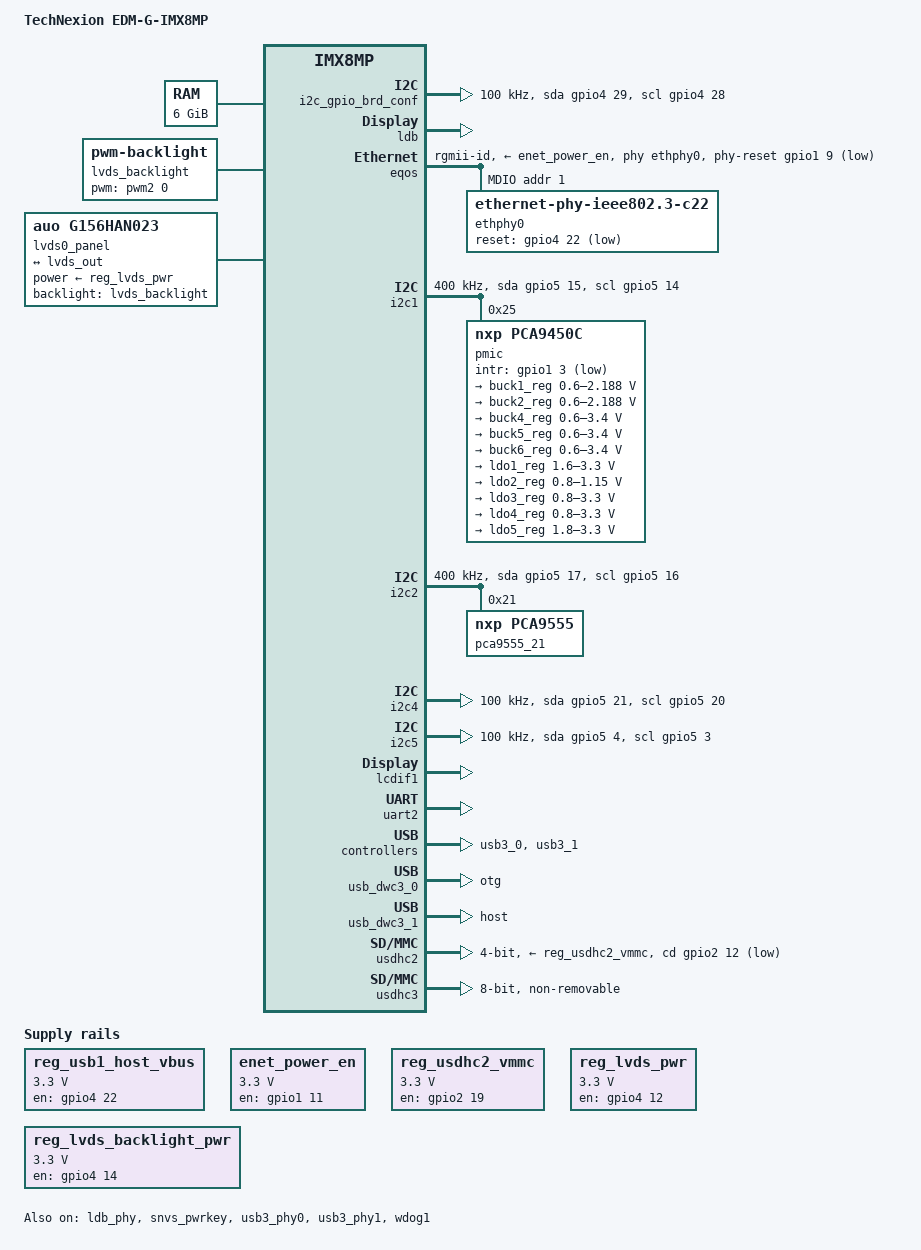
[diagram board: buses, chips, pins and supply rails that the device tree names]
// SPDX-License-Identifier: (GPL-2.0+ OR MIT)
/*
 * Copyright 2017 NXP
 * Copyright 2020 Technexion Ltd, Ray Chang <ray.chang@technexion.com>
 */

/dts-v1/;

#include <dt-bindings/phy/phy-imx8-pcie.h>
#include <dt-bindings/usb/pd.h>
#include "imx8mp.dtsi"

/ {
	model = "TechNexion EDM-G-IMX8MP";
	compatible = "fsl,imx8mp-edm-g", "fsl,imx8mp";

	chosen {
		bootargs = "console=ttymxc1,115200 earlycon=ec_imx6q,0x30890000,115200";
		stdout-path = &uart2;
	};

	memory@40000000 {
		device_type = "memory";
		reg = <0x0 0x40000000 0 0xc0000000>,
		      <0x1 0x00000000 0 0xc0000000>;
	};

	reg_usb1_host_vbus: regulator-usb1-vbus {
		compatible = "regulator-fixed";
		regulator-name = "usb1_host_vbus";
		pinctrl-names = "default";
		pinctrl-0 = <&pinctrl_usb1_vbus>;
		regulator-min-microvolt = <3300000>;
		regulator-max-microvolt = <3300000>;
		gpio = <&gpio4 22 GPIO_ACTIVE_HIGH>;
		enable-active-high;
		regulator-always-on;
	};

	enet_power_en: enet_power_en {
		pinctrl-names = "default";
		pinctrl-0 = <&pinctrl_enet_pwr>;
		compatible = "regulator-fixed";
		regulator-name = "enet_pwr";
		regulator-min-microvolt = <3300000>;
		regulator-max-microvolt = <3300000>;
		gpio = <&gpio1 11 GPIO_ACTIVE_HIGH>;
		enable-active-high;
		regulator-always-on;
	};

	reg_usdhc2_vmmc: regulator-usdhc2 {
		compatible = "regulator-fixed";
		pinctrl-names = "default";
		pinctrl-0 = <&pinctrl_reg_usdhc2_vmmc>;
		regulator-name = "VSD_3V3";
		regulator-min-microvolt = <3300000>;
		regulator-max-microvolt = <3300000>;
		gpio = <&gpio2 19 GPIO_ACTIVE_HIGH>;
		enable-active-high;
	};

	dsi_host: dsi-host {
		compatible = "samsung,sec-mipi-dsi";
		status = "okay";
	};

	i2c_gpio_brd_conf: i2c@0 {
		compatible = "i2c-gpio";
		#address-cells = <1>;
		#size-cells = <0>;
		pinctrl-names = "default";
		pinctrl-0 = <&pinctrl_i2c_brd_conf>;
		gpios = <&gpio4 29 GPIO_ACTIVE_HIGH /* SDA */
			&gpio4 28 GPIO_ACTIVE_HIGH /* SCL */
		>;
		clock-frequency = <100000>;
		status = "okay";
	};


	reg_lvds_pwr: regulator_lvdspwr {
		pinctrl-names = "default";
		pinctrl-0 = <&pinctrl_lvds0_pwr>;
		compatible = "regulator-fixed";
		regulator-name = "lvds0_vdden";
		regulator-min-microvolt = <3300000>;
		regulator-max-microvolt = <3300000>;
		gpio = <&gpio4 12 GPIO_ACTIVE_HIGH>;
		enable-active-high;
		status = "okay";
	};

	reg_lvds_backlight_pwr: regulator_lvdsblpwr {
		pinctrl-names = "default";
		pinctrl-0 = <&pinctrl_lvds0_backlight_pwr>;
		compatible = "regulator-fixed";
		regulator-name = "lvds0_bl_en";
		regulator-min-microvolt = <3300000>;
		regulator-max-microvolt = <3300000>;
		gpio = <&gpio4 14 GPIO_ACTIVE_HIGH>;
		enable-active-high;
		regulator-always-on;
		status = "okay";
	};

	lvds_backlight: lvds_backlight {
		compatible = "pwm-backlight";
		pwms = <&pwm2 0 100000 0>;
        brightness-levels = <0 1 2 3 4 5 6 7 8 9 10 11 12 13 14 15 16 17 18 19 20
                             21 22 23 24 25 26 27 28 29 30 31 32 33 34 35 36 37 38
                             39 40 41 42 43 44 45 46 47 48 49 50 51 52 53 54 55 56
                             57 58 59 60 61 62 63 64 65 66 67 68 69 70 71 72 73 74
                             75 76 77 78 79 80 81 82 83 84 85 86 87 88 89 90 91 92
                             93 94 95 96 97 98 99 100>;
        default-brightness-level = <90>;
		status = "okay";
	};

	lvds0_panel {
		compatible = "auo,g156han023", "panel-lvds";
		backlight = <&lvds_backlight>;
		power-supply = <&reg_lvds_pwr>;
        
        data-mapping = "vesa-24";
        width-mm = <364>;
        height-mm = <216>;

		panel-timing {
			clock-frequency = <70500000>;
			hactive = <1920>;
			vactive = <1080>;
			hback-porch = <52>;
			hfront-porch = <40>;
			vback-porch = <20>;
			vfront-porch = <16>;
			hsync-len = <10>;
			vsync-len = <5>;
		};

		port {
			panel_lvds_in: endpoint {
				remote-endpoint = <&lvds_out>;
			};
		};
	};
};


&ldb {
	status = "okay";
	split-mode;
    dual-channel;

	lvds-channel@0 {
		reg = <0>;
		fsl,data-mapping = "spwg";
		fsl,data-width = <24>;
		status = "okay";
		
		/*
		port@0 {  
            reg = <0>;
            ldb_in: endpoint {  
                remote-endpoint = <&lcdif1_out>;
            };
        };
		*/

		port@1 {
			reg = <1>;

			lvds_out: endpoint {
				remote-endpoint = <&panel_lvds_in>;
			};
		};
	};

    lvds-channel@1 {
        reg = <1>;
        fsl,data-mapping = "spwg";
        fsl,data-width = <24>;
        status = "okay";
    };
};

/*
&lcdif1 {
    status = "okay";
    port@1 {
        reg = <1>;
        lcdif1_out: endpoint {
            remote-endpoint = <&ldb_in>;
        };
    };
};
*/

&ldb_phy {
	status = "okay";
};

&eqos {
	compatible = "fsl,imx-eqos";
	/delete-property/ assigned-clocks;
	/delete-property/ assigned-clock-parents;
	/delete-property/ assigned-clock-rates;

	pinctrl-names = "default";
	pinctrl-0 = <&pinctrl_eqos>;
	phy-mode = "rgmii-id";
	phy-handle = <&ethphy0>;
	phy-supply = <&enet_power_en>;
	phy-reset-gpios = <&gpio1 9 GPIO_ACTIVE_LOW>;
	status = "okay";

	mdio {
		compatible = "snps,dwmac-mdio";
		#address-cells = <1>;
		#size-cells = <0>;

		ethphy0: ethernet-phy@1 {
			compatible = "ethernet-phy-ieee802.3-c22";
			reg = <1>;
			reset-gpios = <&gpio4 22 GPIO_ACTIVE_LOW>;
			reset-assert-us = <10000>;
			reset-deassert-us = <80000>;
			realtek,clkout-disable;
		};
	};

};

&i2c1 {
	clock-frequency = <400000>;
	pinctrl-names = "default", "gpio";
	pinctrl-0 = <&pinctrl_i2c1>;
	pinctrl-1 = <&pinctrl_i2c1_gpio>;
	scl-gpios = <&gpio5 14 GPIO_ACTIVE_HIGH>;
	sda-gpios = <&gpio5 15 GPIO_ACTIVE_HIGH>;
	status = "okay";

	pmic: pca9450@25 {
		reg = <0x25>;
		compatible = "nxp,pca9450c";
		/* PMIC PCA9450 PMIC_nINT GPIO1_IO3 */
		pinctrl-0 = <&pinctrl_pmic>;
		gpio_intr = <&gpio1 3 GPIO_ACTIVE_LOW>;

		regulators {
			#address-cells = <1>;
			#size-cells = <0>;

			pca9450,pmic-buck2-uses-i2c-dvs;
			/* Run/Standby voltage */
			pca9450,pmic-buck2-dvs-voltage = <950000>, <850000>;

			buck1_reg: regulator@0 {
				reg = <0>;
				regulator-compatible = "buck1";
				regulator-min-microvolt = <600000>;
				regulator-max-microvolt = <2187500>;
				regulator-boot-on;
				regulator-always-on;
				regulator-ramp-delay = <3125>;
			};

			buck2_reg: regulator@1 {
				reg = <1>;
				regulator-compatible = "buck2";
				regulator-min-microvolt = <600000>;
				regulator-max-microvolt = <2187500>;
				regulator-boot-on;
				regulator-always-on;
				regulator-ramp-delay = <3125>;
			};

			buck4_reg: regulator@3 {
				reg = <3>;
				regulator-compatible = "buck4";
				regulator-min-microvolt = <600000>;
				regulator-max-microvolt = <3400000>;
				regulator-boot-on;
				regulator-always-on;
			};

			buck5_reg: regulator@4 {
				reg = <4>;
				regulator-compatible = "buck5";
				regulator-min-microvolt = <600000>;
				regulator-max-microvolt = <3400000>;
				regulator-boot-on;
				regulator-always-on;
			};

			buck6_reg: regulator@5 {
				reg = <5>;
				regulator-compatible = "buck6";
				regulator-min-microvolt = <600000>;
				regulator-max-microvolt = <3400000>;
				regulator-boot-on;
				regulator-always-on;
			};

			ldo1_reg: regulator@6 {
				reg = <6>;
				regulator-compatible = "ldo1";
				regulator-min-microvolt = <1600000>;
				regulator-max-microvolt = <3300000>;
				regulator-boot-on;
				regulator-always-on;
			};

			ldo2_reg: regulator@7 {
				reg = <7>;
				regulator-compatible = "ldo2";
				regulator-min-microvolt = <800000>;
				regulator-max-microvolt = <1150000>;
				regulator-boot-on;
				regulator-always-on;
			};

			ldo3_reg: regulator@8 {
				reg = <8>;
				regulator-compatible = "ldo3";
				regulator-min-microvolt = <800000>;
				regulator-max-microvolt = <3300000>;
				regulator-boot-on;
				regulator-always-on;
			};

			ldo4_reg: regulator@9 {
				reg = <9>;
				regulator-compatible = "ldo4";
				regulator-min-microvolt = <800000>;
				regulator-max-microvolt = <3300000>;
				regulator-boot-on;
				regulator-always-on;
			};

			ldo5_reg: regulator@10 {
				reg = <10>;
				regulator-compatible = "ldo5";
				regulator-min-microvolt = <1800000>;
				regulator-max-microvolt = <3300000>;
			};
		};
	};
};

&i2c2 {
	clock-frequency = <400000>;
	pinctrl-names = "default", "gpio";
	pinctrl-0 = <&pinctrl_i2c2>;
	pinctrl-1 = <&pinctrl_i2c2_gpio>;
	scl-gpios = <&gpio5 16 GPIO_ACTIVE_HIGH>;
	sda-gpios = <&gpio5 17 GPIO_ACTIVE_HIGH>;
	status = "okay";

	pca9555_21: pca9555@21 {
		compatible = "nxp,pca9555";
		status = "okay";
		reg =<0x21>;
		gpio-controller;
		#gpio-cells = <2>;

		csi0_pwn-hog {
			gpio-hog;
			gpios = <2 GPIO_ACTIVE_HIGH>;
			output-low;
			line-name = "INFO_TRIG_IN1";
		};
		csi1_pwn-hog {
			gpio-hog;
			gpios = <10 GPIO_ACTIVE_HIGH>;
			output-low;
			line-name = "INFO_TRIG_IN2";
		};
	};
};

&i2c4 {
	clock-frequency = <100000>;
	pinctrl-names = "default", "gpio";
	pinctrl-0 = <&pinctrl_i2c4>;
	pinctrl-1 = <&pinctrl_i2c4_gpio>;
	scl-gpios = <&gpio5 20 GPIO_ACTIVE_HIGH>;
	sda-gpios = <&gpio5 21 GPIO_ACTIVE_HIGH>;
	status = "okay";
};

&i2c5 {
	clock-frequency = <100000>;
	pinctrl-names = "default", "gpio";
	pinctrl-0 = <&pinctrl_i2c5>;
	pinctrl-1 = <&pinctrl_i2c5_gpio>;
	scl-gpios = <&gpio5 3 GPIO_ACTIVE_HIGH>;
	sda-gpios = <&gpio5 4 GPIO_ACTIVE_HIGH>;
	status = "okay";
};

&lcdif1 {
	status = "okay";
};


&snvs_pwrkey {
	status = "okay";
};

&uart2 {
	/* console */
	pinctrl-names = "default";
	pinctrl-0 = <&pinctrl_uart2>;
	status = "okay";
};

&usb3_phy0 {
	status = "okay";
};

&usb3_0 {
	status = "okay";
};

&usb_dwc3_0 {
	dr_mode = "otg";
	hnp-disable;
	srp-disable;
	adp-disable;
	usb-role-switch;
	status = "okay";
};

&usb3_phy1 {
	status = "okay";
};

&usb3_1 {
	status = "okay";
};

&usb_dwc3_1 {
	dr_mode = "host";
	status = "okay";
};

&usdhc2 {
	assigned-clocks = <&clk IMX8MP_CLK_USDHC2>;
	assigned-clock-rates = <400000000>;
	pinctrl-names = "default", "state_100mhz", "state_200mhz";
	pinctrl-0 = <&pinctrl_usdhc2>, <&pinctrl_usdhc2_gpio>;
	pinctrl-1 = <&pinctrl_usdhc2_100mhz>, <&pinctrl_usdhc2_gpio>;
	pinctrl-2 = <&pinctrl_usdhc2_200mhz>, <&pinctrl_usdhc2_gpio>;
	cd-gpios = <&gpio2 12 GPIO_ACTIVE_LOW>;
	vmmc-supply = <&reg_usdhc2_vmmc>;
	bus-width = <4>;
	status = "okay";
};

&usdhc3 {
	assigned-clocks = <&clk IMX8MP_CLK_USDHC3>;
	assigned-clock-rates = <400000000>;
	pinctrl-names = "default", "state_100mhz", "state_200mhz";
	pinctrl-0 = <&pinctrl_usdhc3>;
	pinctrl-1 = <&pinctrl_usdhc3_100mhz>;
	pinctrl-2 = <&pinctrl_usdhc3_200mhz>;
	bus-width = <8>;
	non-removable;
	status = "okay";
};

&wdog1 {
	pinctrl-names = "default";
	pinctrl-0 = <&pinctrl_wdog>;
	fsl,ext-reset-output;
	status = "okay";
};

&iomuxc {
	pinctrl-names = "default";

	pinctrl_eqos: eqosgrp {
		fsl,pins = <
			MX8MP_IOMUXC_ENET_MDC__ENET_QOS_MDC	0x3
			MX8MP_IOMUXC_ENET_MDIO__ENET_QOS_MDIO	0x23
			MX8MP_IOMUXC_ENET_RD0__ENET_QOS_RGMII_RD0	0x91
			MX8MP_IOMUXC_ENET_RD1__ENET_QOS_RGMII_RD1	0x91
			MX8MP_IOMUXC_ENET_RD2__ENET_QOS_RGMII_RD2	0x91
			MX8MP_IOMUXC_ENET_RD3__ENET_QOS_RGMII_RD3	0x91
			MX8MP_IOMUXC_ENET_RXC__CCM_ENET_QOS_CLOCK_GENERATE_RX_CLK	0x91
			MX8MP_IOMUXC_ENET_RX_CTL__ENET_QOS_RGMII_RX_CTL	0x91
			MX8MP_IOMUXC_ENET_TD0__ENET_QOS_RGMII_TD0		0x1f
			MX8MP_IOMUXC_ENET_TD1__ENET_QOS_RGMII_TD1		0x1f
			MX8MP_IOMUXC_ENET_TD2__ENET_QOS_RGMII_TD2		0x1f
			MX8MP_IOMUXC_ENET_TD3__ENET_QOS_RGMII_TD3		0x1f
			MX8MP_IOMUXC_ENET_TX_CTL__ENET_QOS_RGMII_TX_CTL	0x1f
			MX8MP_IOMUXC_ENET_TXC__CCM_ENET_QOS_CLOCK_GENERATE_TX_CLK	0x1f
			MX8MP_IOMUXC_GPIO1_IO09__GPIO1_IO09		0x19
			MX8MP_IOMUXC_GPIO1_IO12__GPIO1_IO12		0x19
		>;
	};

	pinctrl_i2c1: i2c1grp {
		fsl,pins = <
			MX8MP_IOMUXC_I2C1_SCL__I2C1_SCL		0x400001c3
			MX8MP_IOMUXC_I2C1_SDA__I2C1_SDA		0x400001c3
		>;
	};

	pinctrl_i2c2: i2c2grp {
		fsl,pins = <
			MX8MP_IOMUXC_I2C2_SCL__I2C2_SCL			0x400001c3
			MX8MP_IOMUXC_I2C2_SDA__I2C2_SDA			0x400001c3
		>;
	};

	pinctrl_i2c4: i2c4grp {
		fsl,pins = <
			MX8MP_IOMUXC_I2C4_SCL__I2C4_SCL			0x400001a3
			MX8MP_IOMUXC_I2C4_SDA__I2C4_SDA			0x400001a3
		>;
	};

	pinctrl_i2c5: i2c5grp {
		fsl,pins = <
			MX8MP_IOMUXC_SPDIF_TX__I2C5_SCL			0x400001c3
			MX8MP_IOMUXC_SPDIF_RX__I2C5_SDA			0x400001c3
		>;
	};

	pinctrl_pcie0: pcie0grp {
		fsl,pins = <
			MX8MP_IOMUXC_I2C4_SCL__PCIE_CLKREQ_B	0x60 /* open drain, pull up */
			MX8MP_IOMUXC_SD1_DATA5__GPIO2_IO07	0x40
			MX8MP_IOMUXC_I2C4_SDA__GPIO5_IO21	0x1c4
		>;
	};

	pinctrl_pcie0_reg: pcie0reggrp {
		fsl,pins = <
			MX8MP_IOMUXC_SD1_DATA4__GPIO2_IO06	0x40
		>;
	};

	pinctrl_lvds0_backlight_pwr: lvds0_bl_pwrgrp {
		fsl,pins = <
			MX8MP_IOMUXC_SAI1_TXD2__GPIO4_IO14		0x19 /* LVDS0_BL_EN */
		>;
	};

	pinctrl_lvds0_pwr: lvds0_pwrgrp {
		fsl,pins = <
			MX8MP_IOMUXC_SAI1_TXD0__GPIO4_IO12		0x19 /* LVDS0_VDDEN */
		>;
	};


	pinctrl_i2c1_gpio: i2c1grp-gpio {
		fsl,pins = <
			MX8MP_IOMUXC_I2C1_SCL__GPIO5_IO14        	0x1c3
			MX8MP_IOMUXC_I2C1_SDA__GPIO5_IO15        	0x1c3
		>;
	};

	pinctrl_i2c2_gpio: i2c2grp-gpio {
		fsl,pins = <
			MX8MP_IOMUXC_I2C2_SCL__GPIO5_IO16        	0x1c3
			MX8MP_IOMUXC_I2C2_SDA__GPIO5_IO17        	0x1c3
		>;
	};

	pinctrl_i2c4_gpio: i2c4grp-gpio {
		fsl,pins = <
			MX8MP_IOMUXC_I2C4_SCL__GPIO5_IO20        	0x1a3
			MX8MP_IOMUXC_I2C4_SDA__GPIO5_IO21        	0x1a3
		>;
	};

	pinctrl_i2c5_gpio: i2c5grp-gpio {
		fsl,pins = <
			MX8MP_IOMUXC_SPDIF_TX__GPIO5_IO03        	0x1c3
			MX8MP_IOMUXC_SPDIF_RX__GPIO5_IO04        	0x1c3
		>;
	};

	pinctrl_mipi_dsi_en: mipi_dsi_en {
		fsl,pins = <
			MX8MP_IOMUXC_GPIO1_IO08__GPIO1_IO08	0x16
		>;
	};

	pinctrl_pmic: pmicirq {
		fsl,pins = <
			MX8MP_IOMUXC_GPIO1_IO03__GPIO1_IO03	0x41
		>;
	};

	pinctrl_typec_mux: typec1muxgrp {
		fsl,pins = <
			MX8MP_IOMUXC_SAI1_RXC__GPIO4_IO01	0x16
		>;
	};

	pinctrl_reg_usdhc2_vmmc: regusdhc2vmmc {
		fsl,pins = <
			MX8MP_IOMUXC_SD2_RESET_B__GPIO2_IO19	0x41
		>;
	};

	pinctrl_uart2: uart2grp {
		fsl,pins = <
			MX8MP_IOMUXC_UART2_RXD__UART2_DCE_RX	0x140
			MX8MP_IOMUXC_UART2_TXD__UART2_DCE_TX	0x140
		>;
	};

	pinctrl_usb1_vbus: usb1grp {
		fsl,pins = <
			MX8MP_IOMUXC_SAI2_RXC__GPIO4_IO22	0x19
		>;
	};

	pinctrl_usdhc2: usdhc2grp {
		fsl,pins = <
			MX8MP_IOMUXC_SD2_CLK__USDHC2_CLK	0x190
			MX8MP_IOMUXC_SD2_CMD__USDHC2_CMD	0x1d0
			MX8MP_IOMUXC_SD2_DATA0__USDHC2_DATA0	0x1d0
			MX8MP_IOMUXC_SD2_DATA1__USDHC2_DATA1	0x1d0
			MX8MP_IOMUXC_SD2_DATA2__USDHC2_DATA2	0x1d0
			MX8MP_IOMUXC_SD2_DATA3__USDHC2_DATA3	0x1d0
			MX8MP_IOMUXC_GPIO1_IO04__USDHC2_VSELECT	0xc0
		>;
	};

	pinctrl_usdhc2_100mhz: usdhc2grp-100mhz {
		fsl,pins = <
			MX8MP_IOMUXC_SD2_CLK__USDHC2_CLK	0x194
			MX8MP_IOMUXC_SD2_CMD__USDHC2_CMD	0x1d4
			MX8MP_IOMUXC_SD2_DATA0__USDHC2_DATA0	0x1d4
			MX8MP_IOMUXC_SD2_DATA1__USDHC2_DATA1	0x1d4
			MX8MP_IOMUXC_SD2_DATA2__USDHC2_DATA2	0x1d4
			MX8MP_IOMUXC_SD2_DATA3__USDHC2_DATA3	0x1d4
			MX8MP_IOMUXC_GPIO1_IO04__USDHC2_VSELECT 0xc0
		>;
	};

	pinctrl_usdhc2_200mhz: usdhc2grp-200mhz {
		fsl,pins = <
			MX8MP_IOMUXC_SD2_CLK__USDHC2_CLK	0x196
			MX8MP_IOMUXC_SD2_CMD__USDHC2_CMD	0x1d6
			MX8MP_IOMUXC_SD2_DATA0__USDHC2_DATA0	0x1d6
			MX8MP_IOMUXC_SD2_DATA1__USDHC2_DATA1	0x1d6
			MX8MP_IOMUXC_SD2_DATA2__USDHC2_DATA2	0x1d6
			MX8MP_IOMUXC_SD2_DATA3__USDHC2_DATA3	0x1d6
			MX8MP_IOMUXC_GPIO1_IO04__USDHC2_VSELECT 0xc0
		>;
	};

	pinctrl_usdhc2_gpio: usdhc2grp-gpio {
		fsl,pins = <
			MX8MP_IOMUXC_SD2_CD_B__GPIO2_IO12	0x1c4
		>;
	};

	pinctrl_usdhc3: usdhc3grp {
		fsl,pins = <
			MX8MP_IOMUXC_NAND_WE_B__USDHC3_CLK	0x190
			MX8MP_IOMUXC_NAND_WP_B__USDHC3_CMD	0x1d0
			MX8MP_IOMUXC_NAND_DATA04__USDHC3_DATA0	0x1d0
			MX8MP_IOMUXC_NAND_DATA05__USDHC3_DATA1	0x1d0
			MX8MP_IOMUXC_NAND_DATA06__USDHC3_DATA2	0x1d0
			MX8MP_IOMUXC_NAND_DATA07__USDHC3_DATA3	0x1d0
			MX8MP_IOMUXC_NAND_RE_B__USDHC3_DATA4	0x1d0
			MX8MP_IOMUXC_NAND_CE2_B__USDHC3_DATA5	0x1d0
			MX8MP_IOMUXC_NAND_CE3_B__USDHC3_DATA6	0x1d0
			MX8MP_IOMUXC_NAND_CLE__USDHC3_DATA7	0x1d0
			MX8MP_IOMUXC_NAND_CE1_B__USDHC3_STROBE	0x190
		>;
	};

	pinctrl_usdhc3_100mhz: usdhc3grp-100mhz {
		fsl,pins = <
			MX8MP_IOMUXC_NAND_WE_B__USDHC3_CLK	0x194
			MX8MP_IOMUXC_NAND_WP_B__USDHC3_CMD	0x1d4
			MX8MP_IOMUXC_NAND_DATA04__USDHC3_DATA0	0x1d4
			MX8MP_IOMUXC_NAND_DATA05__USDHC3_DATA1	0x1d4
			MX8MP_IOMUXC_NAND_DATA06__USDHC3_DATA2	0x1d4
			MX8MP_IOMUXC_NAND_DATA07__USDHC3_DATA3	0x1d4
			MX8MP_IOMUXC_NAND_RE_B__USDHC3_DATA4	0x1d4
			MX8MP_IOMUXC_NAND_CE2_B__USDHC3_DATA5	0x1d4
			MX8MP_IOMUXC_NAND_CE3_B__USDHC3_DATA6	0x1d4
			MX8MP_IOMUXC_NAND_CLE__USDHC3_DATA7	0x1d4
			MX8MP_IOMUXC_NAND_CE1_B__USDHC3_STROBE	0x194
		>;
	};

	pinctrl_usdhc3_200mhz: usdhc3grp-200mhz {
		fsl,pins = <
			MX8MP_IOMUXC_NAND_WE_B__USDHC3_CLK	0x196
			MX8MP_IOMUXC_NAND_WP_B__USDHC3_CMD	0x1d6
			MX8MP_IOMUXC_NAND_DATA04__USDHC3_DATA0	0x1d6
			MX8MP_IOMUXC_NAND_DATA05__USDHC3_DATA1	0x1d6
			MX8MP_IOMUXC_NAND_DATA06__USDHC3_DATA2	0x1d6
			MX8MP_IOMUXC_NAND_DATA07__USDHC3_DATA3	0x1d6
			MX8MP_IOMUXC_NAND_RE_B__USDHC3_DATA4	0x1d6
			MX8MP_IOMUXC_NAND_CE2_B__USDHC3_DATA5	0x1d6
			MX8MP_IOMUXC_NAND_CE3_B__USDHC3_DATA6	0x1d6
			MX8MP_IOMUXC_NAND_CLE__USDHC3_DATA7	0x1d6
			MX8MP_IOMUXC_NAND_CE1_B__USDHC3_STROBE	0x196
		>;
	};

	pinctrl_wdog: wdoggrp {
		fsl,pins = <
			MX8MP_IOMUXC_GPIO1_IO02__WDOG1_WDOG_B	0xc6
		>;
	};

	pinctrl_enet_pwr: enetpwrgrp {
		fsl,pins = <
			MX8MP_IOMUXC_GPIO1_IO11__GPIO1_IO11		0x11
		>;
	};

	pinctrl_i2c_brd_conf: i2cbrdconfgrp {
		fsl,pins = <
			MX8MP_IOMUXC_SAI3_RXFS__GPIO4_IO28      0x1c3 /* BRD_CONF_SCL, bitbang */
			MX8MP_IOMUXC_SAI3_RXC__GPIO4_IO29       0x1c3 /* BRD_CONF_SDA, bitbang */
		>;
	};
};
